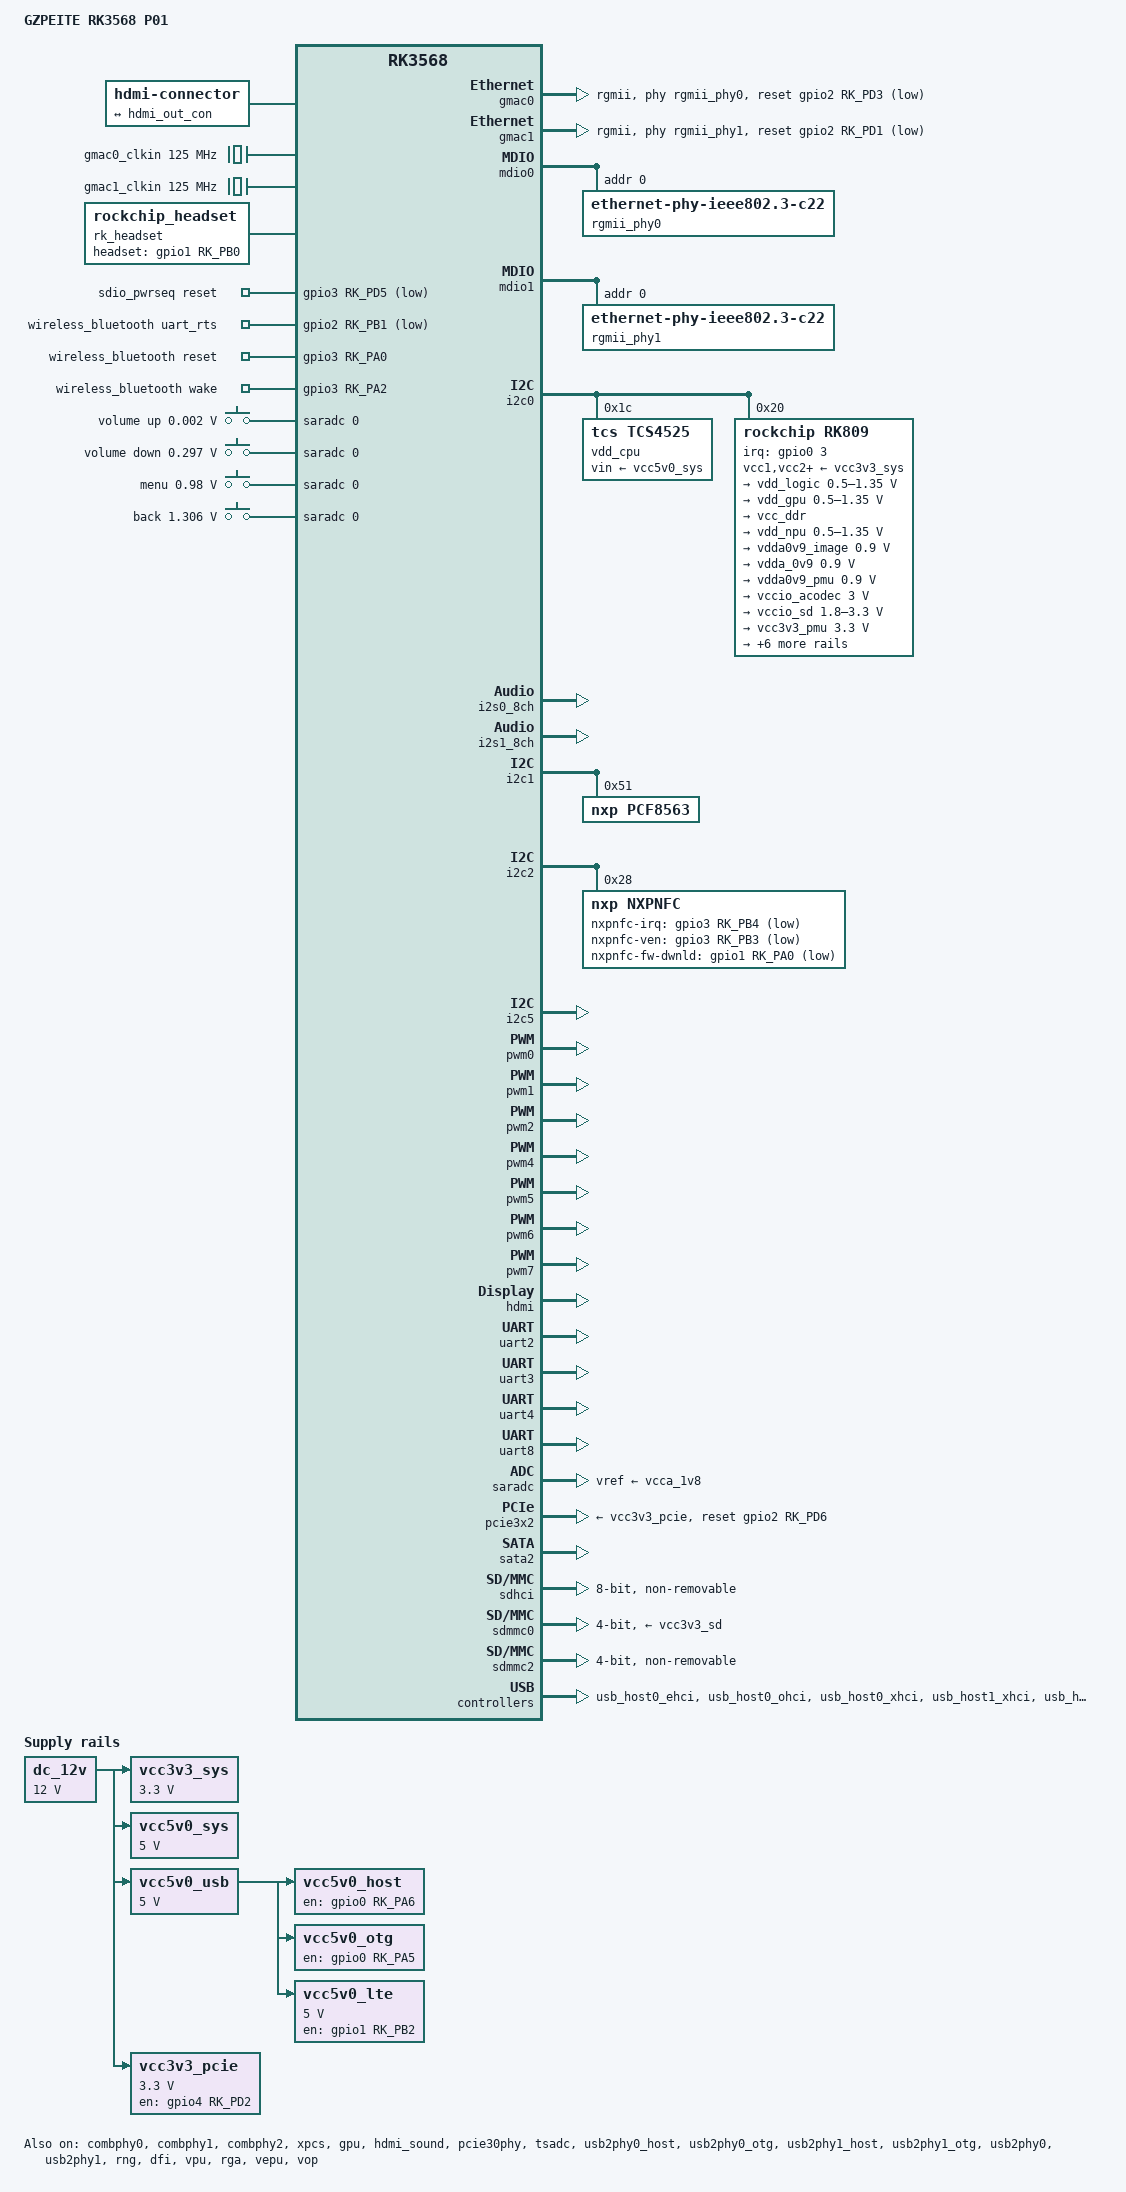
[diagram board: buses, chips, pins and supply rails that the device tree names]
// SPDX-License-Identifier: (GPL-2.0+ OR MIT)
/*
 * Copyright (c) 2020 Rockchip Electronics Co., Ltd.
 *
 */

/dts-v1/;

#include <dt-bindings/gpio/gpio.h>
#include <dt-bindings/leds/common.h>
#include <dt-bindings/input/input.h>
#include <dt-bindings/pinctrl/rockchip.h>
#include <dt-bindings/soc/rockchip,vop2.h>
#include "rk3568.dtsi"

/ {
  	model = "GZPEITE RK3568 P01";
  	compatible = "gzpeite,rk3568-p01","rockchip,rk3568";

  	aliases {
		ethernet0 = &gmac0;
		ethernet1 = &gmac1;
    		mmc0 = &sdmmc0;
    		mmc1 = &sdmmc1;
    		mmc2 = &sdhci;
    		mmc3 = &sdmmc2;
    		rtc1 = &pcf8563;
  	};

	chosen: chosen {
		stdout-path = "serial2:1500000n8";
	};

	hdmi-con {
		compatible = "hdmi-connector";
		type = "a";

		port {
			hdmi_con_in: endpoint {
				remote-endpoint = <&hdmi_out_con>;
			};
		};
	};

  	dc_12v: dc-12v {
    		compatible = "regulator-fixed";
    		regulator-name = "dc_12v";
    		regulator-always-on;
    		regulator-boot-on;
    		regulator-min-microvolt = <12000000>;
    		regulator-max-microvolt = <12000000>;
  	};

	gmac0_clkin: external-gmac0-clock {
		compatible = "fixed-clock";
		clock-frequency = <125000000>;
		clock-output-names = "gmac0_clkin";
		#clock-cells = <0>;
	};

	gmac1_clkin: external-gmac1-clock {
		compatible = "fixed-clock";
		clock-frequency = <125000000>;
		clock-output-names = "gmac1_clkin";
		#clock-cells = <0>;
	};

  	vcc3v3_sys: vcc3v3-sys {
    		compatible = "regulator-fixed";
    		regulator-name = "vcc3v3_sys";
    		regulator-always-on;
    		regulator-boot-on;
    		regulator-min-microvolt = <3300000>;
    		regulator-max-microvolt = <3300000>;
    		vin-supply = <&dc_12v>;
  	};

  	vcc5v0_sys: vcc5v0-sys {
    		compatible = "regulator-fixed";
    		regulator-name = "vcc5v0_sys";
    		regulator-always-on;
    		regulator-boot-on;
    		regulator-min-microvolt = <5000000>;
    		regulator-max-microvolt = <5000000>;
    		vin-supply = <&dc_12v>;
  	};

	vcc5v0_usb: regulator-vcc5v0-usb {
		compatible = "regulator-fixed";
		regulator-name = "vcc5v0_usb";
		regulator-always-on;
		regulator-boot-on;
		regulator-min-microvolt = <5000000>;
		regulator-max-microvolt = <5000000>;
		vin-supply = <&dc_12v>;
	};

	vcc5v0_host: vcc5v0-host {
		compatible = "regulator-fixed";
		regulator-name = "vcc5v0_host";
		enable-active-high;
		gpio = <&gpio0 RK_PA6 GPIO_ACTIVE_HIGH>;
		pinctrl-names = "default";
		pinctrl-0 = <&vcc5v0_host_en>;
		regulator-always-on;
		vin-supply = <&vcc5v0_usb>;
	};

	vcc5v0_otg: vcc5v0-otg {
		compatible = "regulator-fixed";
		regulator-name = "vcc5v0_otg";
		enable-active-high;
		gpio = <&gpio0 RK_PA5 GPIO_ACTIVE_HIGH>;
		pinctrl-names = "default";
		pinctrl-0 = <&vcc5v0_otg_en>;
		vin-supply = <&vcc5v0_usb>;
	};

	vcc5v0_lte: regulator-vcc5v0-lte {
		compatible = "regulator-fixed";
		enable-active-high;
		regulator-always-on;
		gpio = <&gpio1 RK_PB2 GPIO_ACTIVE_HIGH>;
		pinctrl-names = "default";
		pinctrl-0 = <&vcc5v0_lte_en>;
		regulator-name = "vcc5v0_lte";
		regulator-min-microvolt = <5000000>;
		regulator-max-microvolt = <5000000>;
		vin-supply = <&vcc5v0_usb>;
	};

  	vcc3v3_pcie: gpio-regulator {
    		compatible = "regulator-fixed";
    		regulator-name = "vcc3v3_pcie";
    		regulator-min-microvolt = <3300000>;
    		regulator-max-microvolt = <3300000>;
    		enable-active-high;
    		regulator-always-on;
    		gpio = <&gpio4 RK_PD2 GPIO_ACTIVE_HIGH>;
    		startup-delay-us = <5000>;
    		vin-supply = <&dc_12v>;
  	};

  	rk_headset: rk-headset {
    		status = "okay";
    		compatible = "rockchip_headset";
    		headset_gpio = <&gpio1 RK_PB0 GPIO_ACTIVE_HIGH>;
    		pinctrl-names = "default";
    		pinctrl-0 = <&hp_det>;
  	};

  	sdio_pwrseq: sdio-pwrseq {
    		compatible = "mmc-pwrseq-simple";
    		clocks = <&rk809 1>;
    		clock-names = "ext_clock";
    		pinctrl-names = "default";
    		pinctrl-0 = <&wifi_enable_h>;
    		post-power-on-delay-ms = <200>;
    		reset-gpios = <&gpio3 RK_PD5 GPIO_ACTIVE_LOW>;
  	};

  	wireless_wlan: wireless-wlan {
    		status = "okay";
    		compatible = "wlan-platdata";
    		rockchip,grf = <&grf>;
    		wifi_chip_type = "";
    		//pinctrl-names = "default";
    		//pinctrl-0 = <&wifi_enable_h>;
   		//pinctrl-0 = <&wifi_host_wake_irq>;
    		//WIFI,host_wake_irq = <&gpio3 RK_PD4 GPIO_ACTIVE_HIGH>;
    		//WIFI,poweren_gpio = <&gpio3 RK_PD5 GPIO_ACTIVE_HIGH>;
    		keep_wifi_power_on;
  	};

  	wireless_bluetooth: wireless-bluetooth {
    		status = "okay";
    		compatible = "bluetooth-platdata";
    		clocks = <&rk809 1>;
    		clock-names = "ext_clock";
    		//wifi-bt-power-toggle;
    		uart_rts_gpios = <&gpio2 RK_PB1 GPIO_ACTIVE_LOW>;
    		pinctrl-names = "default", "rts_gpio";
    		pinctrl-0 = <&uart8m0_rtsn>;
    		pinctrl-1 = <&uart8_gpios>;
    		BT,reset_gpio = <&gpio3 RK_PA0 GPIO_ACTIVE_HIGH>;
    		BT,wake_gpio = <&gpio3 RK_PA2 GPIO_ACTIVE_HIGH>;
    		//BT,wake_host_irq = <&gpio2 RK_PD7 GPIO_ACTIVE_HIGH>;
  	};

  	adc_keys: adc-keys {
    		compatible = "adc-keys";
    		io-channels = <&saradc 0>;
    		io-channel-names = "buttons";
    		keyup-threshold-microvolt = <1800000>;
    		poll-interval = <100>;

    		vol-up-key {
      			label = "volume up";
      			linux,code = <KEY_VOLUMEUP>;
      			press-threshold-microvolt = <1750>;
    		};

    		vol-down-key {
      			label = "volume down";
      			linux,code = <KEY_VOLUMEDOWN>;
      			press-threshold-microvolt = <297500>;
    		};

    		menu-key {
      			label = "menu";
      			linux,code = <KEY_MENU>;
      			press-threshold-microvolt = <980000>;
    		};

    		back-key {
      			label = "back";
      			linux,code = <KEY_BACK>;
      			press-threshold-microvolt = <1305500>;
    		};
  	};
};

&combphy0 {
	status = "okay";
};

&combphy1 {
	status = "okay";
};

&combphy2 {
	status = "okay";
};

&xpcs {
  	status = "okay";
};

&gmac0 {
  	status = "okay";
  	phy-mode = "rgmii";
  	clock_in_out = "output";

  	snps,reset-gpio = <&gpio2 RK_PD3 GPIO_ACTIVE_LOW>;
  	snps,reset-active-low;
  	/* Reset time is 20ms, 100ms for rtl8211f */
  	snps,reset-delays-us = <0 20000 100000>;

  	assigned-clocks = <&cru SCLK_GMAC0_RX_TX>, <&cru SCLK_GMAC0>;
  	assigned-clock-parents = <&cru SCLK_GMAC0_RGMII_SPEED>, <&gmac0_clkin>;
  	assigned-clock-rates = <0>, <125000000>, <25000000>;

  	pinctrl-names = "default";
	pinctrl-0 = <&gmac0_miim
			&gmac0_tx_bus2
			&gmac0_rx_bus2
			&gmac0_rgmii_clk
			&gmac0_rgmii_bus
			&gmac0_clkinout>;

	tx_delay = <0x3c>;
	rx_delay = <0x2f>;
    
  	phy-handle = <&rgmii_phy0>;
};

&gmac1 {
  	status = "okay";
  	phy-mode = "rgmii";
  	clock_in_out = "output";

  	snps,reset-gpio = <&gpio2 RK_PD1 GPIO_ACTIVE_LOW>;
  	snps,reset-active-low;
  	/* Reset time is 20ms, 100ms for rtl8211f */
  	snps,reset-delays-us = <0 20000 100000>;

  	assigned-clocks = <&cru SCLK_GMAC1_RX_TX>, <&cru SCLK_GMAC1>;
  	assigned-clock-parents = <&cru SCLK_GMAC1_RGMII_SPEED>, <&gmac1_clkin>;
  	assigned-clock-rates = <0>, <125000000>, <25000000>;

  	pinctrl-names = "default";
	pinctrl-0 = <&gmac1m1_miim
			&gmac1m1_tx_bus2
			&gmac1m1_rx_bus2
			&gmac1m1_rgmii_clk
			&gmac1m1_rgmii_bus
			&gmac1m1_clkinout>;

	tx_delay = <0x4f>;
	rx_delay = <0x26>;

  	phy-handle = <&rgmii_phy1>;
};

&mdio0 {
  	rgmii_phy0: phy@0 {
    	compatible = "ethernet-phy-ieee802.3-c22";
    	reg = <0x0>;
    	//clocks = <&cru CLK_MAC0_OUT>;
  	};
};

&mdio1 {
  	rgmii_phy1: phy@0 {
    	compatible = "ethernet-phy-ieee802.3-c22";
    	reg = <0x0>;
    	//clocks = <&cru CLK_MAC1_OUT>;
  	};
};

&cpu0 {
	cpu-supply = <&vdd_cpu>;
};

&cpu1 {
	cpu-supply = <&vdd_cpu>;
};

&cpu2 {
	cpu-supply = <&vdd_cpu>;
};

&cpu3 {
	cpu-supply = <&vdd_cpu>;
};

&gpu {
	mali-supply = <&vdd_gpu>;
	status = "okay";
};

&i2c0 {
  	status = "okay";

  	vdd_cpu: regulator@1c {
    		compatible = "tcs,tcs4525";
    		reg = <0x1c>;
    		vin-supply = <&vcc5v0_sys>;
    		regulator-compatible = "fan53555-reg";
    		regulator-name = "vdd_cpu";
    		regulator-min-microvolt = <712500>;
    		regulator-max-microvolt = <1390000>;
    		regulator-init-microvolt = <900000>;
    		regulator-initial-mode = <1>;
    		regulator-ramp-delay = <2300>;
    		fcs,suspend-voltage-selector = <1>;
    		regulator-boot-on;
    		regulator-always-on;

    		regulator-state-mem {
      			regulator-off-in-suspend;
    		};
  	};

  	rk809: pmic@20 {
		compatible = "rockchip,rk809";
		reg = <0x20>;
		interrupt-parent = <&gpio0>;
		interrupts = <3 IRQ_TYPE_LEVEL_LOW>;
		#clock-cells = <1>;
		#sound-dai-cells = <0>;
		clock-output-names = "rk808-clkout1", "rk808-clkout2";
		pinctrl-names = "default";
		pinctrl-0 = <&pmic_int>;
		rockchip,system-power-controller;
		wakeup-source;

    		vcc1-supply = <&vcc3v3_sys>;
    		vcc2-supply = <&vcc3v3_sys>;
    		vcc3-supply = <&vcc3v3_sys>;
    		vcc4-supply = <&vcc3v3_sys>;
    		vcc5-supply = <&vcc3v3_sys>;
    		vcc6-supply = <&vcc3v3_sys>;
    		vcc7-supply = <&vcc3v3_sys>;
    		vcc8-supply = <&vcc3v3_sys>;
    		vcc9-supply = <&vcc3v3_sys>;

    		regulators {
      			vdd_logic: DCDC_REG1 {
        			regulator-always-on;
        			regulator-boot-on;
        			regulator-min-microvolt = <500000>;
        			regulator-max-microvolt = <1350000>;
       		 		regulator-init-microvolt = <900000>;
        			regulator-ramp-delay = <6001>;
        			regulator-initial-mode = <0x2>;
        			regulator-name = "vdd_logic";
        			regulator-state-mem {
          				regulator-off-in-suspend;
        			};
      			};

      			vdd_gpu: DCDC_REG2 {
        			regulator-always-on;
        			regulator-boot-on;
        			regulator-min-microvolt = <500000>;
        			regulator-max-microvolt = <1350000>;
        			regulator-init-microvolt = <900000>;
        			regulator-ramp-delay = <6001>;
        			regulator-initial-mode = <0x2>;
        			regulator-name = "vdd_gpu";
        			regulator-state-mem {
          				regulator-off-in-suspend;
        			};
      			};

      			vcc_ddr: DCDC_REG3 {
        			regulator-always-on;
        			regulator-boot-on;
        			regulator-initial-mode = <0x2>;
        			regulator-name = "vcc_ddr";
        			regulator-state-mem {
          				regulator-on-in-suspend;
        			};
      			};

      			vdd_npu: DCDC_REG4 {
        			regulator-always-on;
        			regulator-boot-on;
        			regulator-min-microvolt = <500000>;
        			regulator-max-microvolt = <1350000>;
        			regulator-init-microvolt = <900000>;
        			regulator-ramp-delay = <6001>;
        			regulator-initial-mode = <0x2>;
        			regulator-name = "vdd_npu";
        			regulator-state-mem {
          				regulator-off-in-suspend;
        			};
      			};

      			vdda0v9_image: LDO_REG1 {
        			regulator-boot-on;
        			regulator-always-on;
        			regulator-min-microvolt = <900000>;
        			regulator-max-microvolt = <900000>;
        			regulator-name = "vdda0v9_image";
        			regulator-state-mem {
          				regulator-off-in-suspend;
        			};
      			};

      			vdda_0v9: LDO_REG2 {
        			regulator-always-on;
        			regulator-boot-on;
        			regulator-min-microvolt = <900000>;
        			regulator-max-microvolt = <900000>;
        			regulator-name = "vdda_0v9";
        			regulator-state-mem {
          				regulator-off-in-suspend;
        			};
      			};

      			vdda0v9_pmu: LDO_REG3 {
        			regulator-always-on;
        			regulator-boot-on;
        			regulator-min-microvolt = <900000>;
        			regulator-max-microvolt = <900000>;
        			regulator-name = "vdda0v9_pmu";
        			regulator-state-mem {
          				regulator-on-in-suspend;
          				regulator-suspend-microvolt = <900000>;
        			};
      			};

      			vccio_acodec: LDO_REG4 {
        			regulator-always-on;
        			regulator-boot-on;
        			regulator-min-microvolt = <3000000>;
        			regulator-max-microvolt = <3000000>;
        			regulator-name = "vccio_acodec";
        			regulator-state-mem {
          				regulator-off-in-suspend;
        			};
      			};

      			vccio_sd: LDO_REG5 {
        			regulator-always-on;
        			regulator-boot-on;
        			regulator-min-microvolt = <1800000>;
        			regulator-max-microvolt = <3300000>;
        			regulator-name = "vccio_sd";
        			regulator-state-mem {
          				regulator-off-in-suspend;
        			};
      			};

      			vcc3v3_pmu: LDO_REG6 {
        			regulator-always-on;
        			regulator-boot-on;
        			regulator-min-microvolt = <3300000>;
        			regulator-max-microvolt = <3300000>;
        			regulator-name = "vcc3v3_pmu";
        			regulator-state-mem {
          				regulator-on-in-suspend;
          				regulator-suspend-microvolt = <3300000>;
        			};
      			};

      			vcca_1v8: LDO_REG7 {
        			regulator-always-on;
        			regulator-boot-on;
        			regulator-min-microvolt = <1800000>;
        			regulator-max-microvolt = <1800000>;
        			regulator-name = "vcca_1v8";
        			regulator-state-mem {
          				regulator-off-in-suspend;
        			};
      			};

      			vcca1v8_pmu: LDO_REG8 {
        			regulator-always-on;
        			regulator-boot-on;
        			regulator-min-microvolt = <1800000>;
        			regulator-max-microvolt = <1800000>;
        			regulator-name = "vcca1v8_pmu";
        			regulator-state-mem {
          				regulator-on-in-suspend;
          				regulator-suspend-microvolt = <1800000>;
        			};
      			};

      			vcca1v8_image: LDO_REG9 {
        			regulator-always-on;
        			regulator-boot-on;
        			regulator-min-microvolt = <1800000>;
        			regulator-max-microvolt = <1800000>;
        			regulator-name = "vcca1v8_image";
        			regulator-state-mem {
          				regulator-off-in-suspend;
        			};
      			};

      			vcc_1v8: DCDC_REG5 {
        			regulator-always-on;
        			regulator-boot-on;
        			regulator-min-microvolt = <1800000>;
        			regulator-max-microvolt = <1800000>;
        			regulator-name = "vcc_1v8";
        			regulator-state-mem {
          				regulator-off-in-suspend;
        			};
      			};

      			vcc_3v3: SWITCH_REG1 {
        			regulator-always-on;
        			regulator-boot-on;
        			regulator-name = "vcc_3v3";
        			regulator-state-mem {
          				regulator-off-in-suspend;
        			};
      			};

      			vcc3v3_sd: SWITCH_REG2 {
        			regulator-always-on;
        			regulator-boot-on;
        			regulator-name = "vcc3v3_sd";
        			regulator-state-mem {
          				regulator-off-in-suspend;
        			};
      			};
    		};
	};
};

&i2s0_8ch {
	status = "okay";
};

&i2s1_8ch {
	rockchip,trcm-sync-tx-only;
	status = "okay";
};

&i2c1 {
  	status = "okay";

  	pcf8563: pcf8563@51 {
    		compatible = "nxp,pcf8563";
    		reg = <0x51>;
    		#clock-cells = <0>;
    		status = "okay";
  	};

};

&i2c2 {
  	status = "okay";
  	pinctrl-names = "default";
  	pinctrl-0 = <&i2c2m1_xfer>;

  	nxpnfc: nxpnfc@28 {
    		status = "okay";
    		compatible = "nxp,nxpnfc";
    		reg = <0x28>;
    		nxp,nxpnfc-irq = <&gpio3 RK_PB4 GPIO_ACTIVE_LOW>;
    		nxp,nxpnfc-ven = <&gpio3 RK_PB3 GPIO_ACTIVE_LOW>;
    		nxp,nxpnfc-fw-dwnld = <&gpio1 RK_PA0 GPIO_ACTIVE_LOW>;
  	};
};

&i2c3 {
  	status = "disabled";
};

&i2c5 {
    	status = "okay";
};

&pmu_io_domains {
  	status = "okay";
  	pmuio2-supply = <&vcc3v3_pmu>;
  	vccio1-supply = <&vccio_acodec>;
  	vccio3-supply = <&vccio_sd>;
  	vccio4-supply = <&vcc_1v8>;
  	vccio5-supply = <&vcc_3v3>;
  	vccio6-supply = <&vcc_1v8>;
  	vccio7-supply = <&vcc_3v3>;
};

&pwm0 {
  	status = "okay";
};

&pwm1 {
  	status = "okay";
};

&pwm2 {
  	status = "okay";
};

&pwm3 {
  	status = "disabled";
};

&pwm4 {
  	status = "okay";
};

&pwm5 {
  	status = "okay";
};

&pwm6 {
  	status = "okay";
};

&pwm7 {
  	status = "okay"; //IR
};

&hdmi {
	avdd-0v9-supply = <&vdda0v9_image>;
	avdd-1v8-supply = <&vcca1v8_image>;
	status = "okay";
};

&hdmi_in {
	hdmi_in_vp0: endpoint {
		remote-endpoint = <&vp0_out_hdmi>;
	};
};

&hdmi_out {
	hdmi_out_con: endpoint {
		remote-endpoint = <&hdmi_con_in>;
	};
};

&hdmi_sound {
	status = "okay";
};

&uart2 {
	status = "okay"; //debug ttl
};

&uart3 {
	status = "okay";
	pinctrl-names = "default";
	pinctrl-0 = <&uart3m1_xfer>;
};

&uart4 {
	status = "okay";
	pinctrl-names = "default";
	pinctrl-0 = <&uart4m1_xfer>;
};

&uart7 {
  	status = "disabled";
};

&uart8 {
  	status = "okay";
  	pinctrl-names = "default";
  	pinctrl-0 = <&uart8m0_xfer>, <&uart8m0_ctsn>;
};

&uart9 {
  	status = "disabled";
};

&saradc {
  	status = "okay";
  	vref-supply = <&vcca_1v8>;
};

&pcie30phy {
  	status = "okay";
};

&pcie3x2 {
  	reset-gpios = <&gpio2 RK_PD6 GPIO_ACTIVE_HIGH>;
  	vpcie3v3-supply = <&vcc3v3_pcie>;
  	status = "okay";
};

&sata2 {
  	status = "okay";
};

&sdhci {
  	status = "okay";
  	bus-width = <8>;
  	supports-emmc;
  	non-removable;
  	max-frequency = <200000000>;
  	no-sdio;
  	no-sd;
  	full-pwr-cycle-in-suspend;
};

&sdmmc0 {
  	max-frequency = <150000000>;
  	supports-sd;
  	no-sdio;
  	no-mmc;
  	bus-width = <4>;
  	cap-mmc-highspeed;
  	cap-sd-highspeed;
  	disable-wp;
  	sd-uhs-sdr104;
  	vmmc-supply = <&vcc3v3_sd>;
  	vqmmc-supply = <&vccio_sd>;
  	pinctrl-names = "default";
  	pinctrl-0 = <&sdmmc0_bus4 &sdmmc0_clk &sdmmc0_cmd &sdmmc0_det>;
  	status = "okay";
};

&sdmmc2 {
  	status = "okay";
  	max-frequency = <150000000>;
  	no-sd;
  	no-mmc;
  	supports-sdio;
  	bus-width = <4>;
  	disable-wp;
  	cap-sd-highspeed;
  	cap-sdio-irq;
  	keep-power-in-suspend;
  	mmc-pwrseq = <&sdio_pwrseq>;
  	non-removable;
  	pinctrl-names = "default";
  	pinctrl-0 = <&sdmmc2m0_bus4 &sdmmc2m0_cmd &sdmmc2m0_clk>;
 	//sd-uhs-sdr104;
};

&tsadc {
  	status = "okay";
};

&usb2phy0_host {
	phy-supply = <&vcc5v0_host>;
	status = "okay";
};

&usb2phy0_otg {
	status = "okay";
};

&usb2phy1_host {
	phy-supply = <&vcc5v0_host>;
	status = "okay";
};

&usb2phy1_otg {
	phy-supply = <&vcc5v0_host>;
	status = "okay";
};

&usb2phy0 {
	status = "okay";
};

&usb2phy1 {
	status = "okay";
};

&usb_host0_ehci {
	status = "okay";
};

&usb_host0_ohci {
	status = "okay";
};

&usb_host0_xhci {
	extcon = <&usb2phy0>;
	status = "okay";
};

&usb_host1_xhci {
	status = "okay";
};

&usb_host1_ehci {
	status = "okay";
};

&usb_host1_ohci {
	status = "okay";
};

&pinctrl {

  	headphone {
    		hp_det: hp-det {
      			rockchip,pins = <1 RK_PB0 RK_FUNC_GPIO &pcfg_pull_up>;
    		};
  	};

  	pmic {
    		pmic_int: pmic_int {
      			rockchip,pins =
        			<0 RK_PA3 RK_FUNC_GPIO &pcfg_pull_up>;
    		};
  	};

	usb {
		vcc5v0_host_en: vcc5v0-host-en {
			rockchip,pins = <0 RK_PA6 RK_FUNC_GPIO &pcfg_pull_none>;
		};

		vcc5v0_otg_en: vcc5v0-otg-en {
			rockchip,pins = <0 RK_PA5 RK_FUNC_GPIO &pcfg_pull_none>;
		};

		vcc5v0_lte_en: vcc5v0_lte_en {
			rockchip,pins = <1 RK_PB2 RK_FUNC_GPIO &pcfg_pull_none>; // bsp
		};
		vcc5v0_lte_rst: vcc5v0_lte_rst {
			rockchip,pins = <1 RK_PB1 RK_FUNC_GPIO &pcfg_pull_none>; // bsp
		};
	};

  	sdio-pwrseq {
    		wifi_enable_h: wifi-enable-h {
      			rockchip,pins = <3 RK_PD5 RK_FUNC_GPIO &pcfg_pull_none>;
    		};
  	};

  	wireless-wlan {
    		wifi_host_wake_irq: wifi-host-wake-irq {
      			rockchip,pins = <3 RK_PD4 RK_FUNC_GPIO &pcfg_pull_down>;
    		};
  	};

  	wireless-bluetooth {
    		uart8_gpios: uart8-gpios {
      			rockchip,pins = <2 RK_PB1 RK_FUNC_GPIO &pcfg_pull_none>;
    		};
  	};
};

&rng {
  	status = "okay";
};

&dfi {
  	status = "okay";
};

&vpu {
  	status = "okay";
};

&vdpu_mmu {
  	status = "okay";
};

&rga {
  	status = "okay";
};

&vepu {
  	status = "okay";
};

&vepu_mmu {
  	status = "okay";
};

&vop {
  	status = "okay";
  	assigned-clocks = <&cru DCLK_VOP0>, <&cru DCLK_VOP1>;
  	assigned-clock-parents = <&pmucru PLL_HPLL>, <&cru PLL_VPLL>;
  	disable-win-move;
};

&vop_mmu {
  	status = "okay";
};

&vp0 {
	vp0_out_hdmi: endpoint@ROCKCHIP_VOP2_EP_HDMI0 {
		reg = <ROCKCHIP_VOP2_EP_HDMI0>;
		remote-endpoint = <&hdmi_in_vp0>;
	};
};
